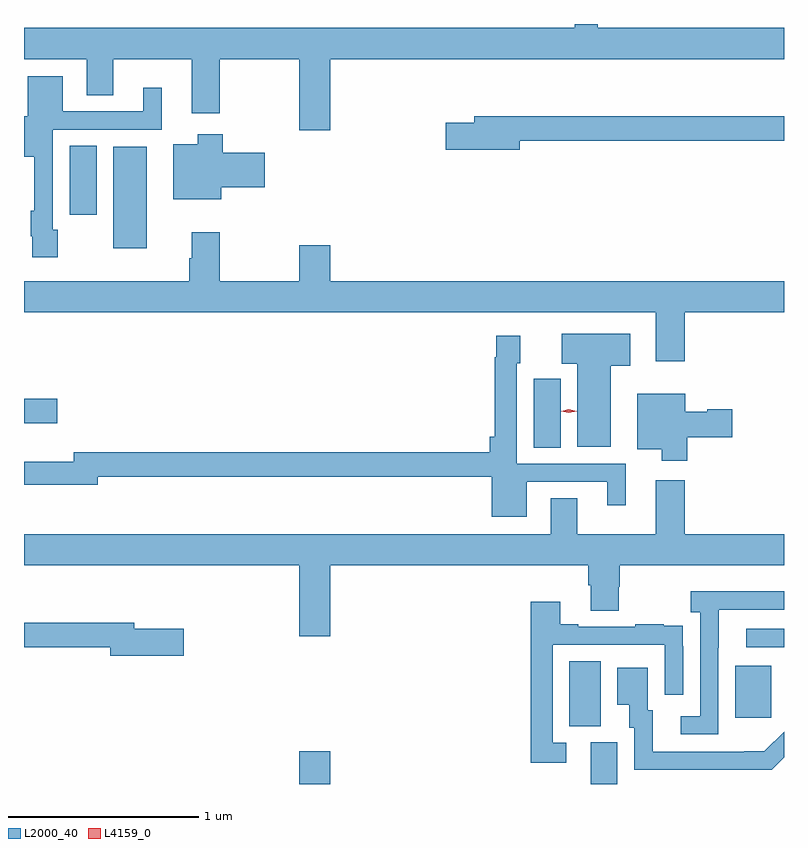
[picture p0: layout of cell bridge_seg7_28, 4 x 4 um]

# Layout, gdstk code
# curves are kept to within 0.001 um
import gdstk
lib = gdstk.Library(unit=1e-6, precision=1e-09)
def R(c, l, rs):  # rectangles x0, y0, x1, y1
    for r in rs: c.add(gdstk.rectangle(r[:2], r[2:], *l))
def P(c, l, *ps):  # polygons
    for p in ps: c.add(gdstk.Polygon(p, *l))
L2000_40 = (2000, 40)
L4159_0 = (4159, 0)

bridge_seg7_28 = lib.new_cell('bridge_seg7_28')
R(bridge_seg7_28, L2000_40, [(1016.156,1059.405,1016.32,1059.577), (1017.689,1059.405,1017.829,1059.624), (1017.578,1059.709,1017.742,1060.052), (1018.451,1059.753,1018.639,1060.027), (1018.509,1060.125,1018.707,1060.221), (1017.389,1061.176,1017.532,1061.537), (1014.707,1061.303,1014.883,1061.433), (1015.178,1062.224,1015.354,1062.76), (1014.947,1062.402,1015.09,1062.764)])
P(bridge_seg7_28, L2000_40, [(1016.32,1063.22),(1018.707,1063.22),(1018.707,1063.384),(1017.727,1063.384),(1017.727,1063.405),(1017.605,1063.405),(1017.605,1063.384),(1014.707,1063.384),(1014.707,1063.22),(1015.037,1063.22),(1015.037,1063.03),(1015.177,1063.03),(1015.177,1063.22),(1015.589,1063.22),(1015.589,1062.936),(1015.737,1062.936),(1015.737,1063.22),(1016.156,1063.22),(1016.156,1062.846),(1016.32,1062.846)],
  [(1014.885,1062.321),(1014.858,1062.321),(1014.858,1062.849),(1015.432,1062.849),(1015.432,1063.069),(1015.334,1063.069),(1015.334,1062.945),(1014.91,1062.945),(1014.91,1063.129),(1014.728,1063.129),(1014.728,1062.919),(1014.707,1062.919),(1014.707,1062.707),(1014.762,1062.707),(1014.762,1062.421),(1014.742,1062.421),(1014.742,1062.289),(1014.75,1062.289),(1014.75,1062.177),(1014.885,1062.177)],
  [(1017.316,1062.79),(1018.707,1062.79),(1018.707,1062.919),(1017.077,1062.919),(1017.077,1062.885),(1016.928,1062.885),(1016.928,1062.743),(1017.316,1062.743)],
  [(1015.744,1062.545),(1015.975,1062.545),(1015.975,1062.728),(1015.752,1062.728),(1015.752,1062.826),(1015.622,1062.826),(1015.622,1062.772),(1015.493,1062.772),(1015.493,1062.482),(1015.744,1062.482)],
  [(1018.184,1061.888),(1018.707,1061.888),(1018.707,1062.052),(1016.32,1062.052),(1016.32,1062.241),(1016.156,1062.241),(1016.156,1062.052),(1015.737,1062.052),(1015.737,1062.31),(1015.589,1062.31),(1015.589,1062.173),(1015.577,1062.173),(1015.577,1062.052),(1014.707,1062.052),(1014.707,1061.888),(1018.031,1061.888),(1018.031,1061.631),(1018.184,1061.631)],
  [(1017.796,1061.606),(1017.898,1061.606),(1017.898,1061.776),(1017.538,1061.776),(1017.538,1061.618),(1017.62,1061.618),(1017.62,1061.18),(1017.796,1061.18)],
  [(1017.352,1060.995),(1017.776,1060.995),(1017.776,1060.872),(1017.874,1060.872),(1017.874,1061.091),(1017.3,1061.091),(1017.3,1061.619),(1017.319,1061.619),(1017.319,1061.764),(1017.192,1061.764),(1017.192,1061.651),(1017.184,1061.651),(1017.184,1061.233),(1017.158,1061.233),(1017.158,1061.15),(1014.968,1061.15),(1014.968,1061.101),(1014.708,1061.101),(1014.708,1060.979),(1015.096,1060.979),(1015.096,1061.022),(1017.17,1061.022),(1017.17,1060.811),(1017.352,1060.811)],
  [(1018.199,1061.231),(1018.435,1061.231),(1018.435,1061.378),(1018.302,1061.378),(1018.302,1061.365),(1018.186,1061.365),(1018.186,1061.458),(1017.935,1061.458),(1017.935,1061.168),(1018.064,1061.168),(1018.064,1061.106),(1018.199,1061.106)],
  [(1016.32,1060.556),(1017.677,1060.556),(1017.677,1060.45),(1017.689,1060.45),(1017.689,1060.318),(1017.837,1060.318),(1017.837,1060.443),(1017.842,1060.443),(1017.842,1060.556),(1018.707,1060.556),(1018.707,1060.72),(1018.184,1060.72),(1018.184,1061.005),(1018.031,1061.005),(1018.031,1060.72),(1017.619,1060.72),(1017.619,1060.91),(1017.479,1060.91),(1017.479,1060.72),(1014.707,1060.72),(1014.707,1060.556),(1016.156,1060.556),(1016.156,1060.182),(1016.32,1060.182)],
  [(1018.362,1060.123),(1018.363,1060.123),(1018.363,1060.323),(1018.707,1060.323),(1018.707,1060.42),(1018.215,1060.42),(1018.215,1060.31),(1018.266,1060.31),(1018.266,1059.762),(1018.164,1059.762),(1018.164,1059.666),(1018.362,1059.666)],
  [(1017.562,1059.621),(1017.489,1059.621),(1017.489,1060.137),(1018.08,1060.137),(1018.08,1059.876),(1018.176,1059.876),(1018.176,1060.13),(1018.175,1060.13),(1018.175,1060.239),(1018.073,1060.239),(1018.073,1060.246),(1017.925,1060.246),(1017.925,1060.233),(1017.625,1060.233),(1017.625,1060.246),(1017.529,1060.246),(1017.529,1060.363),(1017.373,1060.363),(1017.373,1059.516),(1017.562,1059.516)],
  [(1015.549,1060.221),(1015.288,1060.221),(1015.288,1060.255),(1014.707,1060.255),(1014.707,1060.126),(1015.16,1060.126),(1015.16,1060.079),(1015.549,1060.079)],
  [(1018.707,1059.545),(1018.707,1059.681),(1018.603,1059.577),(1018.015,1059.576),(1018.015,1059.792),(1017.991,1059.792),(1017.991,1060.018),(1017.83,1060.018),(1017.83,1059.821),(1017.893,1059.821),(1017.893,1059.702),(1017.918,1059.702),(1017.918,1059.48),(1018.642,1059.48)])
P(bridge_seg7_28, L4159_0, [(1017.575,1061.358),(1017.535,1061.367),(1017.535,1061.368),(1017.535,1061.368),(1017.575,1061.378),(1017.616,1061.368),(1017.616,1061.368),(1017.616,1061.368)])

lib.write_gds('bridge_seg7_28.gds')
